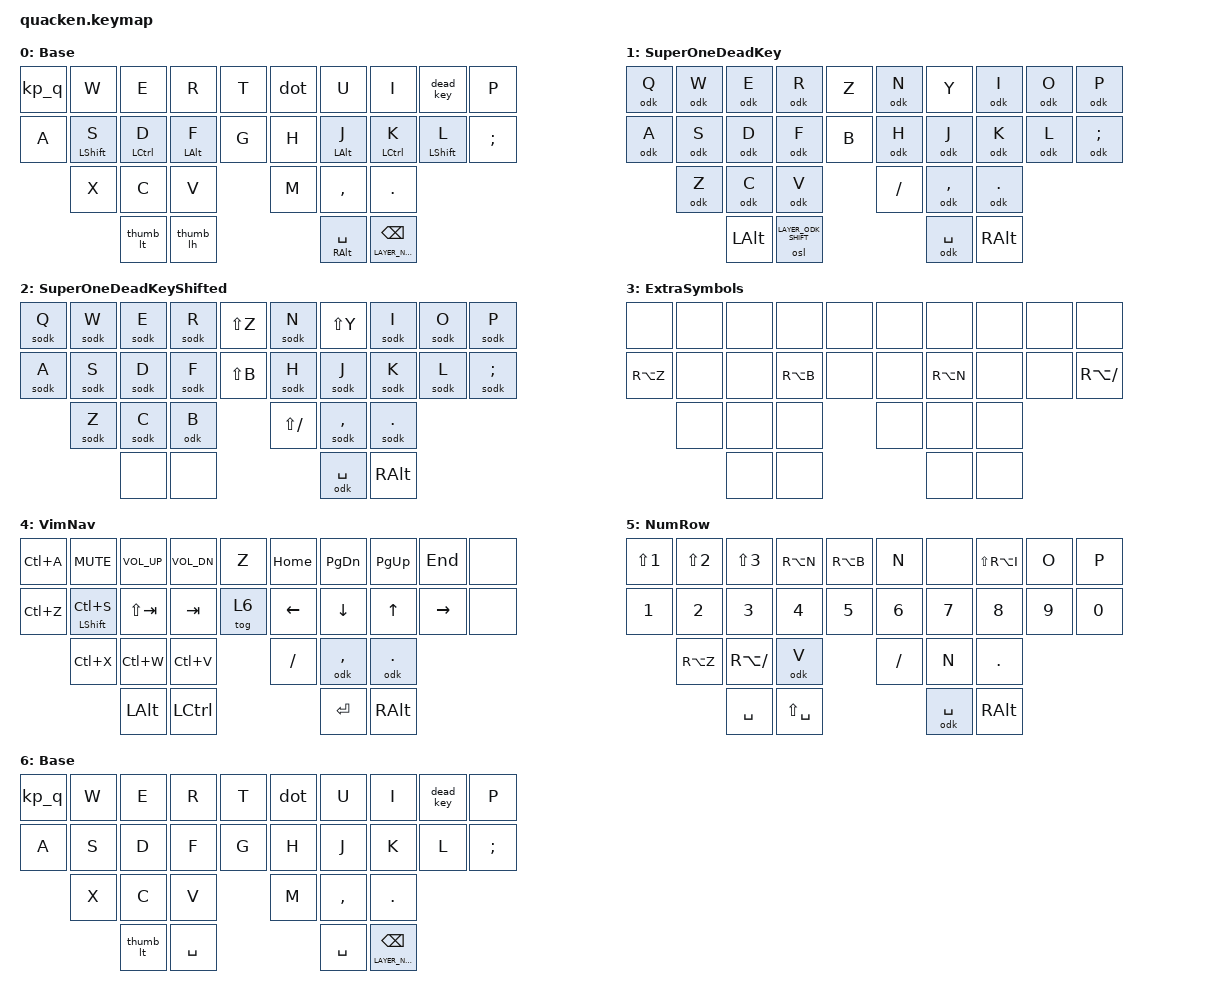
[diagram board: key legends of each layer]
#include <behaviors.dtsi>
#include <dt-bindings/zmk/keys.h>
#include "../../../include/tap-hold-timings.dtsi"

#define MS LSHFT
#define MA LALT
#define MC LCTL

&sl { quick-release; };
&sk { quick-release; };

&caps_word {
    continue-list = <COMMA FSLH>;
};

#define LAYER_BASE          0
#define LAYER_ODK           1
#define LAYER_ODK_SHIFT     2
#define LAYER_EXTRA_SYMBOLS 3
#define LAYER_VIM_NAV       4
#define LAYER_NUM_ROW       5

#define COMBO_TIMEOUT_MS 30
#define COMBO_LOCK_MS 150


/ {
    behaviors {
        kp_q: key_press_q {
            compatible = "zmk,behavior-mod-morph";
            #binding-cells = <0>;
            bindings = <&kp Q>, <&kp RA(Y)>;
            mods = <MOD_RALT>;
        };

        dot: key_press_dot {
            compatible = "zmk,behavior-mod-morph";
            #binding-cells = <0>;
            bindings = <&kp N>, <&kp RA(Q)>;
            mods = <MOD_RALT>;
        };

        /* hrm: home_row_mod { */
        /*     compatible = "zmk,behavior-hold-tap"; */
        /*     #binding-cells = <2>; */
        /*     tapping-term-ms = <200>; */
        /*     quick-tap-ms = <200>; */
        /*     require-prior-idle-ms = <125>; */
        /*     flavor = "tap-preferred"; */
        /*     bindings = <&kp>, <&kp>; */
        /* }; */

        /* hrms: home_row_mod_safe { */
        /*     compatible = "zmk,behavior-hold-tap"; */
        /*     #binding-cells = <2>; */
        /*     tapping-term-ms = <200>; */
        /*     quick-tap-ms = <200>; */
        /*     require-prior-idle-ms = <125>; */
        /*     flavor = "tap-preferred"; */
        /*     bindings = <&kp>, <&kp>; */
        /* }; */

        /* hrmq: home_row_mod_quick { */
        /*     compatible = "zmk,behavior-hold-tap"; */
        /*     #binding-cells = <2>; */
        /*     tapping-term-ms = <150>; */
        /*     quick-tap-ms = <200>; */
        /*     flavor = "tap-preferred"; */
        /*     bindings = <&kp>, <&kp>; */
        /* }; */

        /* osm: one_shot_modifier { */
        /*     compatible = "zmk,behavior-macro-one-param"; */
        /*     #binding-cells = <1>; */
        /*     tap-ms = <0>; */
        /*     wait-ms = <0>; */
        /*     bindings = <&macro_param_1to1>, <&macro_tap &sk MACRO_PLACEHOLDER>; */
        /* }; */

        /* osl: one_shot_layer { */
        /*     compatible = "zmk,behavior-macro-one-param"; */
        /*     #binding-cells = <1>; */
        /*     tap-ms = <0>; */
        /*     wait-ms = <0>; */
        /*     bindings = <&macro_param_1to1>, <&macro_tap &sl MACRO_PLACEHOLDER>; */
        /* }; */

        ltsk: layer_tap_sticky_key {
            compatible = "zmk,behavior-hold-tap";
            #binding-cells = <2>;
            tapping-term-ms = <200>;
            flavor = "tap-preferred";
            bindings = <&mo>, <&osm>;
        };

        // I mean, it wants everything at the same time
        bls: bisexual_layer_switch {
            compatible = "zmk,behavior-hold-tap";
            #binding-cells = <2>;
            tapping-term-ms = <200>;
            flavor = "tap-preferred";
            bindings = <&mo>, <&osl>;
        };

        thumb_lh: left_thumb_home {
            compatible = "zmk,behavior-mod-morph";
            #binding-cells = <0>;
            bindings = <&ltsk LAYER_VIM_NAV LSHFT>, <&hrlf LAYER_NUM_ROW SPACE>;
            mods = <MOD_RALT>;
            keep-mods = <MOD_RALT>;
        };

        thumb_lt: left_thumb_tucked {
            compatible = "zmk,behavior-mod-morph";
            #binding-cells = <0>;
            bindings = <&hrm LGUI ESCAPE>, <&bls LAYER_NUM_ROW LAYER_NUM_ROW>;
            mods = <MOD_RALT>;
        };

        dead_key: dead_key {
            compatible = "zmk,behavior-mod-morph";
            #binding-cells = <0>;
            bindings = <&bls LAYER_ODK LAYER_ODK>, <&kp O>;
            mods = <(MOD_LSFT|MOD_RSFT|MOD_RALT|MOD_LGUI)>;
            keep-mods = <(MOD_LSFT|MOD_RSFT|MOD_RALT|MOD_LGUI|MOD_LCTL)>;
        };

        nsodk: no_shift_one_dead_key {
            compatible = "zmk,behavior-mod-morph";
            #binding-cells = <0>;
            bindings = <&kp O>, <&kp O>;
            mods = <MOD_LSFT>;
        };
    };

    macros {
        odk: one_dead_key {
            compatible = "zmk,behavior-macro-one-param";
            #binding-cells = <1>;
            tap-ms = <0>;
            wait-ms = <0>;
            bindings
                = <&macro_tap &nsodk>
                , <&macro_param_1to1>
                , <&macro_tap &kp MACRO_PLACEHOLDER>
                ;
        };

        sodk: shifted_one_dead_key {
            compatible = "zmk,behavior-macro-one-param";
            #binding-cells = <1>;
            tap-ms = <0>;
            wait-ms = <0>;
            bindings
                = <&macro_tap &nsodk>
                , <&macro_press &kp LSHFT>
                , <&macro_param_1to1>
                , <&macro_tap &kp MACRO_PLACEHOLDER>
                , <&macro_release &kp LSHFT>
                ;
        };
    };

    combos {
        compatible= "zmk,combos";

        compose_sd {
            key-positions = <11 12>;
            bindings = <&kp NUBS>;
            timeout-ms = <COMBO_TIMEOUT_MS>;
            require-prior-idle-ms = <COMBO_LOCK_MS>;
            layers = <LAYER_BASE>;
        };

        enter_df {
            key-positions = <12 13>;
            bindings = <&kp ENTER>;
            timeout-ms = <COMBO_TIMEOUT_MS>;
            require-prior-idle-ms = <COMBO_LOCK_MS>;
            layers = <LAYER_BASE>;
        };

        escape_kj {
            key-positions = <16 17>;
            bindings = <&kp ESCAPE>;
            timeout-ms = <COMBO_TIMEOUT_MS>;
            require-prior-idle-ms = <COMBO_LOCK_MS>;
            layers = <LAYER_BASE>;
        };

        delete_word_lk {
            key-positions = <17 18>;
            bindings = <&kp LC(BSPC)>;
            timeout-ms = <COMBO_TIMEOUT_MS>;
            require-prior-idle-ms = <COMBO_LOCK_MS>;
            layers = <LAYER_BASE>;
        };

        /* _cv { */
        /*     key-positions = <23 24>; */
        /*     bindings = <&kp LC(BSPC)>; */
        /*     timeout-ms = <COMBO_TIMEOUT_MS>; */
        /*     require-prior-idle-ms = <COMBO_LOCK_MS>; */
        /*     layers = <LAYER_BASE>; */
        /* }; */

        caps_word_m_comma {
            key-positions = <23 24>;
            /* bindings = <&caps_word>; */
            bindings = <&kp CAPSLOCK>;
            timeout-ms = <COMBO_TIMEOUT_MS>;
            require-prior-idle-ms = <COMBO_LOCK_MS>;
            layers = <LAYER_BASE>;
        };
    };

    keymap {
        compatible = "zmk,keymap";

        default_layer {
            display-name = "Base";
            bindings = <
         &kp_q &kp W     &kp E       &kp R       &kp T      &dot  &kp U       &kp I      &dead_key  &kp P
         /* &kp A &hrm MS S &hrms MC D &hrms MA F &kp G      &kp H &hrms MA J &hrms MC K &hrm MS L &kp SEMI */
         &kp A &hrm MS S &hrm MC D &hrm MA F &kp G      &kp H &hrm MA J &hrm MC K &hrm MS L &kp SEMI
               &kp X     &kp C       &kp V                  &kp M &kp COMMA   &kp DOT
                         &thumb_lt  &thumb_lh             &hrmf RALT SPACE &lt LAYER_NUM_ROW BSPC
            >;
        };

        super_odk {
            display-name = "SuperOneDeadKey";
            bindings = <
         &odk Q  &odk W  &odk E  &odk R  &kp Z     &odk N  &kp Y      &odk I      &odk O    &odk P
         &odk A  &odk S  &odk D  &odk F  &kp B     &odk H  &odk J     &odk K      &odk L    &odk SEMI
                 &odk Z  &odk C  &odk V                    &kp FSLH   &odk COMMA  &odk DOT
                       &kp LALT  &osl LAYER_ODK_SHIFT       &odk SPACE  &kp RALT
            >;
        };

        super_odk_shift {
            display-name = "SuperOneDeadKeyShifted";
            bindings = <
         &sodk Q &sodk W &sodk E &sodk R &kp LS(Z) &sodk N &kp LS(Y)    &sodk I     &sodk O   &sodk P
         &sodk A &sodk S &sodk D &sodk F &kp LS(B) &sodk H &sodk J      &sodk K     &sodk L   &sodk SEMI
                 &sodk Z &sodk C &odk B                    &kp LS(FSLH) &sodk COMMA &sodk DOT
                       &none     &none                     &odk SPACE &kp RALT
            >;
        };

        extra_symbols {
            display-name = "ExtraSymbols";
            bindings = <
         &none     &none &none &none     &none    &none &none     &none &none &none
         &kp RA(Z) &none &none &kp RA(B) &none    &none &kp RA(N) &none &none &kp RA(FSLH)
                   &none &none &none                    &none     &none &none
                         &none &none                    &none &none
            >;
        };

        vim_nav {
            display-name = "VimNav";
            bindings = <
         &kp LC(A) &kp K_MUTE    &kp K_VOL_UP &kp K_VOL_DN  &kp Z    &kp HOME &kp PG_DN &kp PG_UP  &kp END   &none
         &kp LC(Z) &hrm MS LC(S) &kp LS(TAB)  &kp TAB       &tog 6   &kp LEFT &kp DOWN  &kp UP     &kp RIGHT &none
                   &kp LC(X)     &kp LC(W)    &kp LC(V)                       &kp FSLH  &odk COMMA &odk DOT
                                 &kp LALT      &kp LCTL                       &kp ENTER &kp RALT
            >;
        };

        num_row {
            display-name = "NumRow";
            bindings = <
         &kp LS(N1) &kp LS(N2) &kp LS(N3)   &kp RA(N) &kp RA(B)   &kp N  &none      &kp LS(RA(I))  &kp O    &kp P
         &kp N1     &kp N2     &kp N3       &kp N4    &kp N5      &kp N6 &kp N7     &kp N8         &kp N9   &kp N0
                    &kp RA(Z)  &kp RA(FSLH) &odk V                       &kp FSLH   &kp N          &kp DOT
                               &kp SPACE    &kp LS(SPACE)                &odk SPACE &kp RALT
            >;
        };

        gaming {
            display-name = "Base";
            bindings = <
         &kp_q &kp W &kp E &kp R &kp T      &dot  &kp U &kp I &dead_key &kp P
         &kp A &kp S &kp D &kp F &kp G      &kp H &kp J &kp K &kp L &kp SEMI
               &kp X &kp C &kp V                  &kp M &kp COMMA &kp DOT
                    &thumb_lt  &kp SPACE           &kp SPACE &lt LAYER_NUM_ROW BSPC
            >;
        };

    };
};
